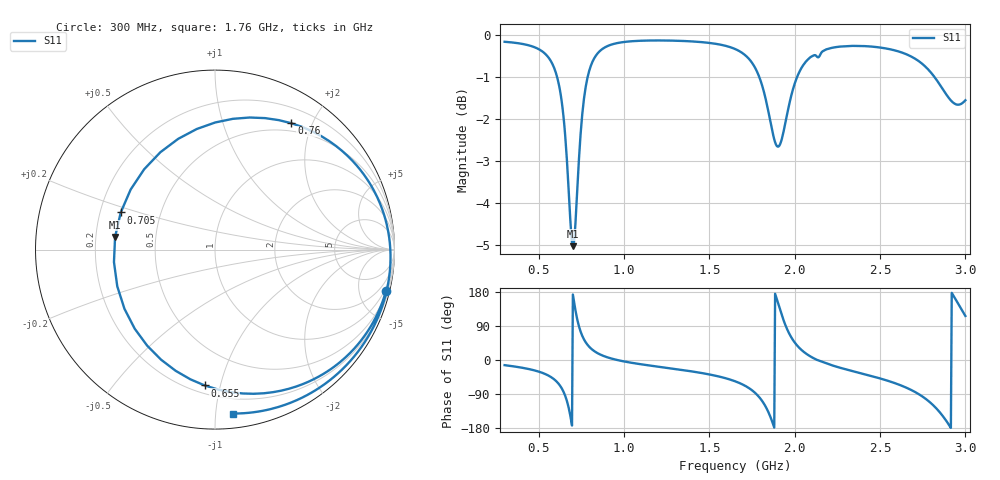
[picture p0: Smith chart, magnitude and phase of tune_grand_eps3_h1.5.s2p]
! grand-style spiral alone, coupling slab eps 3, 1.5 mm over the board
! simulated by sim/fixtures_fdtd.py (S12 = S21, S22 not computed)
# HZ S RI R 50
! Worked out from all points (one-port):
!   541 points, 300 MHz to 3 GHz, reference 50 ohm
!   lowest |S11| = -5.0 dB at 700 MHz (marker M1), VSWR 3.56, Z = 14.1 + j2.88 ohm
!   |S11| at or under -10 dB: nowhere
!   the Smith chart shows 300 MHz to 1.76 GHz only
!   S11 on the Smith chart (normalised r, x): 300 MHz: 0.70, -8.33; 655 MHz: 0.25, -0.89; 705 MHz: 0.29, +0.17; 760 MHz: 0.39, +1.71; 1.76 GHz: 0.09, -1.11
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3e8  0.9529 -0.2305  0 0  0 0  0 0
5.55e8  0.7132 -0.6128  0 0  0 0  0 0
6.55e8  -0.0582 -0.7566  0 0  0 0  0 0
7e8  -0.5568 0.0699  0 0  0 0  0 0
7.05e8  -0.5252 0.2068  0 0  0 0  0 0
7.25e8  -0.2049 0.6172  0 0  0 0  0 0
7.5e8  0.2784 0.7326  0 0  0 0  0 0
7.6e8  0.426 0.7039  0 0  0 0  0 0
8.65e8  0.9321 0.2236  0 0  0 0  0 0
1.2e9  0.9376 -0.2983  0 0  0 0  0 0
1.65e9  0.5368 -0.7974  0 0  0 0  0 0
1.76e9  0.1015 -0.9133  0 0  0 0  0 0
1.83e9  -0.4618 -0.6994  0 0  0 0  0 0
1.885e9  -0.7421 0.0683  0 0  0 0  0 0
1.92e9  -0.4197 0.6175  0 0  0 0  0 0
1.955e9  0.1151 0.7955  0 0  0 0  0 0
2.015e9  0.7054 0.5455  0 0  0 0  0 0
2.1e9  0.9345 0.1197  0 0  0 0  0 0
2.55e9  0.5449 -0.792  0 0  0 0  0 0
2.805e9  -0.4029 -0.8024  0 0  0 0  0 0
2.915e9  -0.8352 -0.0125  0 0  0 0  0 0
3e9  -0.3677 0.7504  0 0  0 0  0 0
